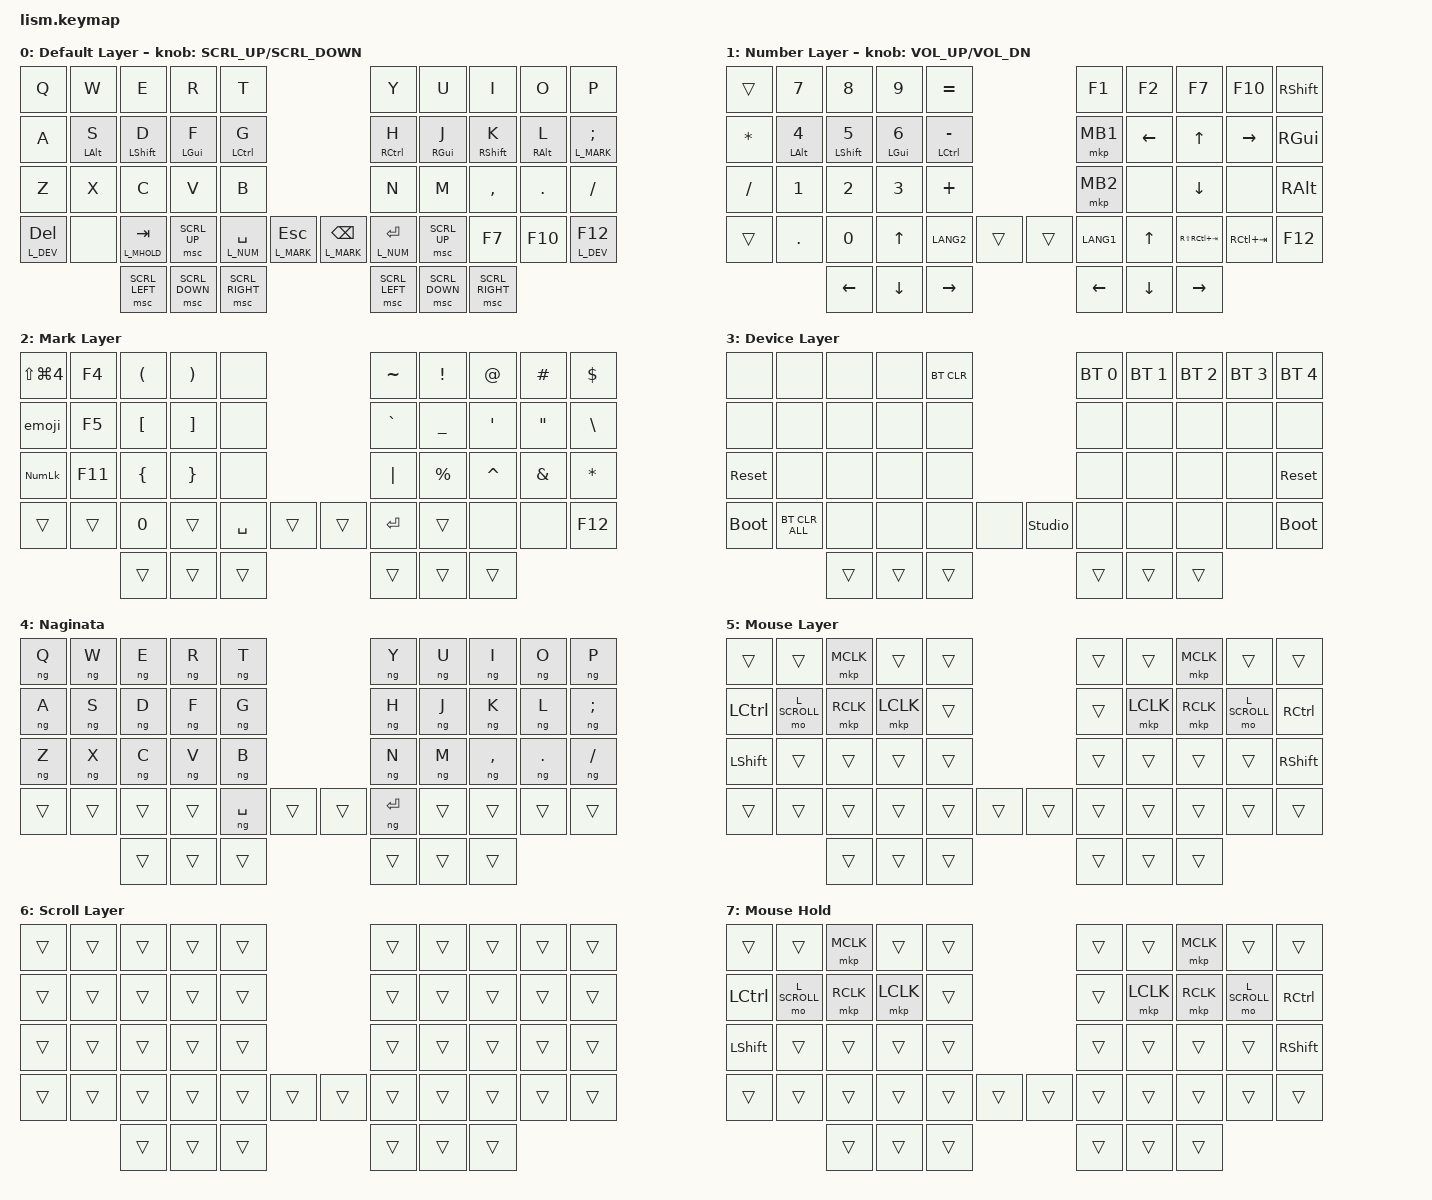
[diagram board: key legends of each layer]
#define ZMK_POINTING_DEFAULT_SCRL_VAL 200

#include <behaviors.dtsi>
#include <behaviors/naginata.dtsi>
#include <dt-bindings/zmk/bt.h>
#include <dt-bindings/zmk/keys.h>
#include <dt-bindings/zmk/pointing.h>
#include <dt-bindings/zmk/mouse.h>
#include "lism_layers.h"

&mt {
    tapping-term-ms = <300>;
    flavor = "balanced";
};

&lt {
    quick-tap-ms = <300>;
};


/ {
    macros {

        ng_on: ng_on {
            compatible = "zmk,behavior-macro";
            #binding-cells = <0>;
            bindings
                = <&macro_tap &kp LANGUAGE_1 &kp INTERNATIONAL_4 &to L_NAGI>
                ;
        };
        ng_off: ng_off {
            compatible = "zmk,behavior-macro";
            #binding-cells = <0>;
            bindings
                = <&macro_tap &kp LANGUAGE_2 &kp INTERNATIONAL_5 &to L_DEF>
                ;
        };
        emoji: emoji_macro {
            compatible = "zmk,behavior-macro";
            label = "EMOJI";
            #binding-cells = <0>;
            bindings = 
                <&macro_press &kp CAPSLOCK>,
                <&macro_tap &kp E>,
                <&macro_release &kp CAPSLOCK>;
        };
    };

    behaviors {
        encoder_msc: sensor_rotate_msc {
            compatible = "zmk,behavior-sensor-rotate-var";
            #sensor-binding-cells = <2>;
            bindings = <&msc>, <&msc>;
            tap-ms = <20>;
        };

        encoder_kp: sensor_rotate_kp {
            compatible = "zmk,behavior-sensor-rotate-var";
            #sensor-binding-cells = <2>;
            bindings = <&kp>, <&kp>;
        };
    };


    combos {
        compatible = "zmk,combos";
        combo_ng_on {
            timeout-ms = <300>;
            key-positions = <15 16>;
            bindings = <&ng_on>;
            layers = <L_DEF>;
        };
        combo_ng_off {
            timeout-ms = <300>;
            key-positions = <13 14>;
            bindings = <&ng_off>;
            layers = <L_DEF L_NAGI>;
        };
    };

    keymap {
        compatible = "zmk,keymap";

        default_layer {
            display-name = "Default Layer";
            bindings = <
                &kp Q            &kp W              &kp E                 &kp R                   &kp T                                                  &kp Y          &kp U            &kp I              &kp O               &kp P
                &kp A            &mt LALT S         &mt LSHIFT D          &mt LGUI F              &mt LCTRL G                                            &mt RCTRL H    &mt RGUI J       &mt RSHIFT K       &mt RALT L          &lt L_MARK SEMICOLON
                &kp Z            &kp X              &kp C                 &kp V                   &kp B                                                  &kp N          &kp M            &kp COMMA          &kp DOT             &kp SLASH
                &lt L_DEV DELETE &none              &lt L_MHOLD TAB       &msc SCRL_UP            &lt L_NUM SPACE   &lt L_MARK ESC      &lt L_MARK BACKSPACE &lt L_NUM ENTER &msc SCRL_UP &kp F7             &kp F10             &lt L_DEV F12 
                                                    &msc SCRL_LEFT        &msc SCRL_DOWN          &msc SCRL_RIGHT                                        &msc SCRL_LEFT &msc SCRL_DOWN   &msc SCRL_RIGHT
            >;
            sensor-bindings = <&encoder_msc SCRL_UP SCRL_DOWN>;
        };

        number_layer {  // L_NUM
            display-name = "Number Layer";
            bindings = <
                &trans           &kp NUMBER_7       &kp NUMBER_8          &kp NUMBER_9            &kp EQUAL                                              &kp F1         &kp F2           &kp F7             &kp F10             &kp RSHIFT
                &kp ASTERISK     &mt LALT NUMBER_4  &mt LSHIFT NUMBER_5   &mt LGUI NUMBER_6       &mt LCTRL MINUS                                        &mkp MB1       &kp LEFT         &kp UP             &kp RIGHT           &kp RGUI
                &kp SLASH        &kp NUMBER_1       &kp NUMBER_2          &kp NUMBER_3            &kp PLUS                                               &mkp MB2       &none            &kp DOWN           &none               &kp RALT
                &trans           &kp DOT            &kp NUMBER_0          &kp UP                  &kp LANG2         &trans              &trans           &kp LANG1      &kp UP           &kp RS(RC(TAB))    &kp RC(TAB)         &kp F12 
                                                    &kp LEFT              &kp DOWN                &kp RIGHT                                              &kp LEFT       &kp DOWN         &kp RIGHT
            >;
            sensor-bindings = <&encoder_kp C_VOL_UP C_VOL_DN>;
        };

        mark_layer {  // L_MARK
            display-name = "Mark Layer";
            bindings = <
                &kp LS(LG(N4))   &kp F4             &kp LEFT_PARENTHESIS  &kp RIGHT_PARENTHESIS   &none                                                  &kp TILDE      &kp EXCLAMATION  &kp AT_SIGN        &kp HASH            &kp DOLLAR
                &emoji           &kp F5             &kp LEFT_BRACKET      &kp RIGHT_BRACKET       &none                                                  &kp GRAVE      &kp UNDER        &kp SINGLE_QUOTE   &kp DOUBLE_QUOTES   &kp BACKSLASH
                &kp KP_NUMLOCK   &kp F11            &kp LEFT_BRACE        &kp RIGHT_BRACE         &none                                                  &kp PIPE       &kp PERCENT      &kp CARET          &kp AMPERSAND       &kp ASTERISK
                &trans           &trans             &kp NUMBER_0          &trans                  &kp SPACE         &trans              &trans           &kp ENTER      &trans           &none              &none               &kp F12 
                                                    &trans                &trans                  &trans                                                 &trans         &trans           &trans
            >;
        };

        device_layer {  // L_DEV
            display-name = "Device Layer";
            bindings = <
                &none            &none              &none                 &none                   &bt BT_CLR                                             &bt BT_SEL 0   &bt BT_SEL 1     &bt BT_SEL 2       &bt BT_SEL 3        &bt BT_SEL 4
                &none            &none              &none                 &none                   &none                                                  &none          &none            &none              &none               &none
                &sys_reset       &none              &none                 &none                   &none                                                  &none          &none            &none              &none               &sys_reset
                &bootloader      &bt BT_CLR_ALL     &none                 &none                   &none             &none               &studio_unlock   &none          &none            &none              &none               &bootloader
                                                    &trans                &trans                  &trans                                                 &trans         &trans           &trans
            >;
        };

        naginata_layer {  // L_NAGI
            display-name = "Naginata";
            bindings = <
                &ng Q  &ng W  &ng E  &ng R  &ng T                                  &ng Y  &ng U  &ng I      &ng O    &ng P
                &ng A  &ng S  &ng D  &ng F  &ng G                                  &ng H  &ng J  &ng K      &ng L    &ng SEMI
                &ng Z  &ng X  &ng C  &ng V  &ng B                                  &ng N  &ng M  &ng COMMA  &ng DOT  &ng SLASH
                &trans &trans &trans &trans &ng SPACE &trans    &trans &ng ENTER &trans &trans &trans &trans
                              &trans &trans &trans                                 &trans &trans &trans
            >;
        };

        mouse_layer {  // L_MOUSE: トラックボールを動かすと自動で入る（zip_temp_layer）。薙刀式より上
            display-name = "Mouse Layer";
            // 右手: J=左クリック K=右クリック I=中クリック L=押している間ボールでスクロール ;=右Ctrl /=右Shift
            // 左手: F=左クリック D=右クリック E=中クリック S=押している間ボールでスクロール A=左Ctrl Z=左Shift
            // ここに置いたキーの位置は overlay の excluded-positions に入れて、押してもマウス層を抜けないようにする
            bindings = <
                &trans         &trans         &mkp MCLK      &trans         &trans         &trans         &trans         &mkp MCLK      &trans         &trans
                &kp LCTRL      &mo L_SCROLL   &mkp RCLK      &mkp LCLK      &trans         &trans         &mkp LCLK      &mkp RCLK      &mo L_SCROLL   &kp RCTRL
                &kp LSHIFT     &trans         &trans         &trans         &trans         &trans         &trans         &trans         &trans         &kp RSHIFT
                &trans         &trans         &trans         &trans         &trans         &trans         &trans         &trans         &trans         &trans         &trans         &trans
                &trans         &trans         &trans         &trans         &trans         &trans
            >;
        };

        scroll_layer {  // L_SCROLL: マウス層の S か L を押している間だけ。ボールの動きをスクロールに変える（overlay 側）
            display-name = "Scroll Layer";
            bindings = <
                &trans         &trans         &trans         &trans         &trans         &trans         &trans         &trans         &trans         &trans
                &trans         &trans         &trans         &trans         &trans         &trans         &trans         &trans         &trans         &trans
                &trans         &trans         &trans         &trans         &trans         &trans         &trans         &trans         &trans         &trans
                &trans         &trans         &trans         &trans         &trans         &trans         &trans         &trans         &trans         &trans         &trans         &trans
                &trans         &trans         &trans         &trans         &trans         &trans
            >;
        };

        mouse_hold_layer {  // L_MHOLD: Tab を押している間だけ。中身はマウス層と同じ。オートマウスの対象外なので1秒で切れない
            display-name = "Mouse Hold";
            bindings = <
                &trans         &trans         &mkp MCLK      &trans         &trans         &trans         &trans         &mkp MCLK      &trans         &trans
                &kp LCTRL      &mo L_SCROLL   &mkp RCLK      &mkp LCLK      &trans         &trans         &mkp LCLK      &mkp RCLK      &mo L_SCROLL   &kp RCTRL
                &kp LSHIFT     &trans         &trans         &trans         &trans         &trans         &trans         &trans         &trans         &kp RSHIFT
                &trans         &trans         &trans         &trans         &trans         &trans         &trans         &trans         &trans         &trans         &trans         &trans
                &trans         &trans         &trans         &trans         &trans         &trans
            >;
        };
    };

};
